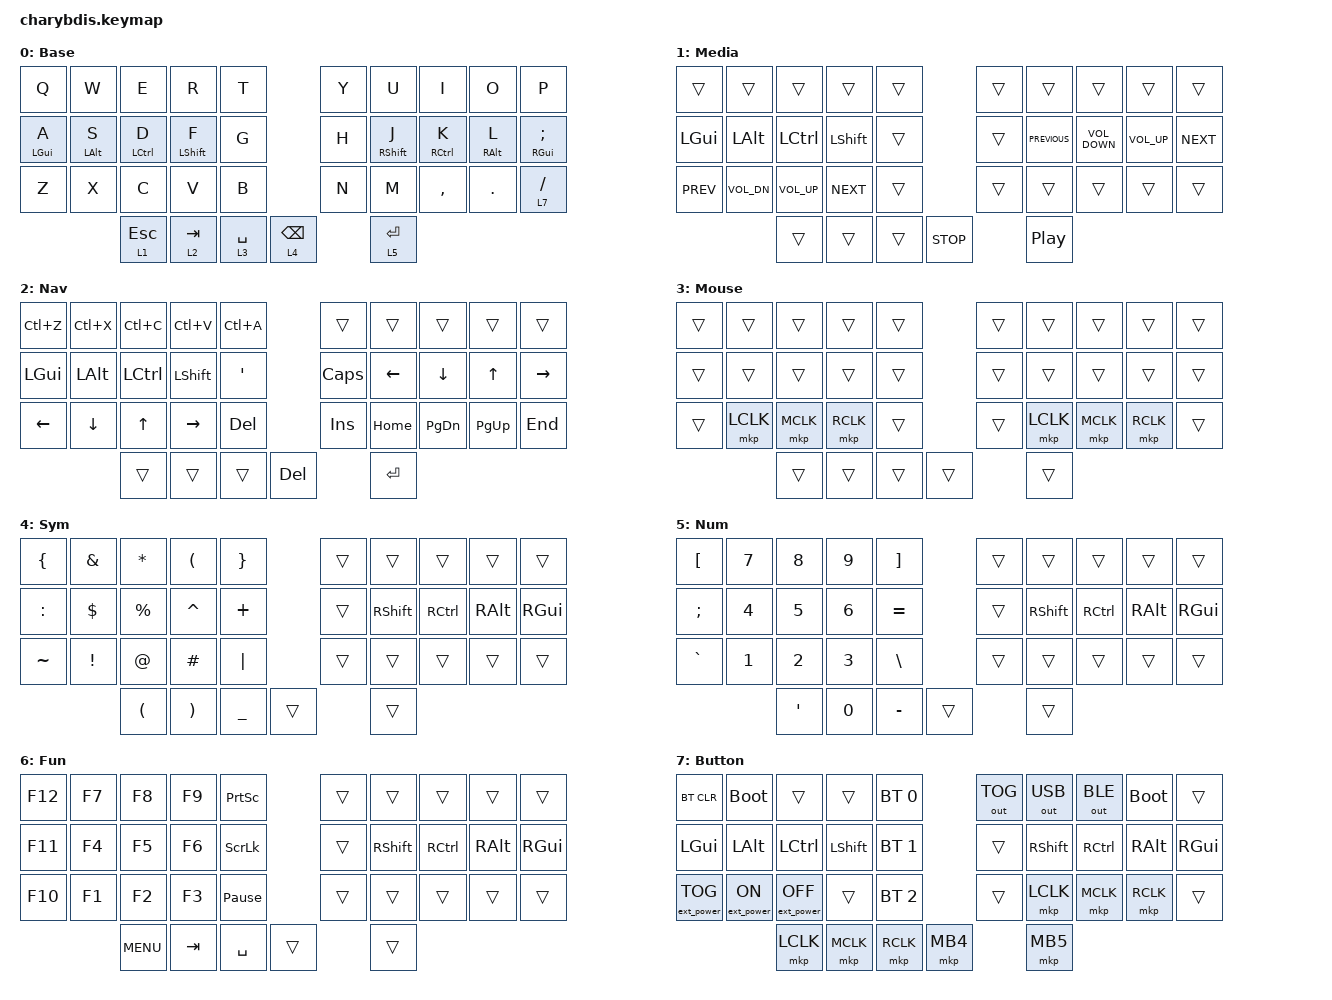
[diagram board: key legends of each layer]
#include <behaviors.dtsi>
#include <dt-bindings/zmk/keys.h>
#include <dt-bindings/zmk/bt.h>
#include <dt-bindings/zmk/ext_power.h>
#include <dt-bindings/zmk/mouse.h>
#include <dt-bindings/zmk/outputs.h>
#include <input/processors.dtsi>
#include <dt-bindings/zmk/input_transform.h>

#define Base 0
#define Media 1
#define Nav 2
#define Mouse 3
#define Sym 4
#define Num 5
#define Fun 6
#define Button 7

/ {
    trackball_listener {
        compatible = "zmk,input-listener";
        device = <&trackball_split>;

        snipe {
            layers = <Mouse>;
            input-processors = <&zip_xy_scaler 1 3>;
        };

        scroll {
            layers = <Nav>;
            input-processors = <&zip_xy_scaler 1 3>, <&zip_xy_to_scroll_mapper>, <&zip_scroll_transform (INPUT_TRANSFORM_Y_INVERT)>;
        };
    };

    behaviors {
        hm: homerow_mods {
            compatible = "zmk,behavior-hold-tap";
            #binding-cells = <2>;
            flavor = "tap-preferred";
            tapping-term-ms = <240>;
            quick-tap-ms = <150>;
            bindings =
                <&kp>,
                <&kp>;
        };

        lt: layer_tap {
            compatible = "zmk,behavior-hold-tap";
            #binding-cells = <2>;
            flavor = "balanced";
            tapping-term-ms = <240>;
            quick-tap-ms = <150>;
            bindings = 
                <&mo>,
                <&kp>;
        };
    };

    chosen {
        // ZMK Studio requires physical layouts instead of the legacy
        // chosen zmk,matrix_transform; select the matching 5-column layout.
        zmk,physical-layout = &charybdis_5col_layout;
    };

    keymap {
        compatible = "zmk,keymap";

        Base {
            bindings = <
            &kp Q       &kp W       &kp E         &kp R         &kp T                       &kp Y        &kp U        &kp I       &kp O               &kp P               
            &hm LGUI A  &hm LALT S  &hm LCTRL D   &hm LSHIFT F  &kp G                       &kp H  &hm RSHFT J  &hm RCTRL K  &hm RALT L  &hm RGUI SEMICOLON  
            &kp Z       &kp X       &kp C         &kp V         &kp B                       &kp N        &kp M    &kp COMMA     &kp DOT         &lt 7 SLASH         
                                    &lt 1 ESCAPE  &lt 2 TAB     &lt 3 SPACE       &lt 4 BACKSPACE  &lt 5 ENTER
            >;
        };

        Media {
            bindings = <
            &trans        &trans          &trans          &trans      &trans              &trans            &trans             &trans           &trans      &trans  
            &kp LGUI      &kp LALT        &kp LCTRL       &kp LSHIFT  &trans              &trans    &kp C_PREVIOUS  &kp C_VOLUME_DOWN  &kp C_VOLUME_UP  &kp C_NEXT  
            &kp C_PREV    &kp C_VOL_DN    &kp C_VOL_UP    &kp C_NEXT  &trans              &trans            &trans             &trans           &trans      &trans  
                                          &trans          &trans      &trans          &kp C_STOP  &kp C_PLAY_PAUSE
            >;
        };

        Nav {
            bindings = <
            &kp LC(Z)     &kp LC(X)   &kp LC(C)   &kp LC(V)   &kp LC(A)                     &trans     &trans         &trans       &trans       &trans  
            &kp LEFT_GUI  &kp LALT    &kp LCTRL   &kp LSHIFT  &kp SQT                     &kp CAPS   &kp LEFT       &kp DOWN       &kp UP    &kp RIGHT  
            &kp LEFT      &kp DOWN    &kp UP      &kp RIGHT   &kp DELETE                &kp INSERT   &kp HOME  &kp PAGE_DOWN  &kp PAGE_UP      &kp END  
                                      &trans      &trans      &trans                    &kp DELETE  &kp ENTER
            >;
        };

        Mouse {
            bindings = <
            &trans    &trans      &trans      &trans      &trans              &trans         &trans     &trans     &trans  &trans  
            &trans    &trans      &trans      &trans      &trans              &trans         &trans     &trans     &trans  &trans  
            &trans    &mkp LCLK   &mkp MCLK   &mkp RCLK   &trans              &trans      &mkp LCLK  &mkp MCLK  &mkp RCLK  &trans  
                                  &trans      &trans      &trans              &trans         &trans
            >;
        };

        Sym {
            bindings = <
            &kp LEFT_BRACE  &kp AMPERSAND  &kp ASTERISK          &kp LEFT_PARENTHESIS   &kp RIGHT_BRACE       &trans      &trans     &trans    &trans    &trans  
            &kp COLON       &kp DOLLAR     &kp PERCENT           &kp CARET              &kp PLUS              &trans  &kp RSHIFT  &kp RCTRL  &kp RALT  &kp RGUI  
            &kp TILDE       &kp EXCL       &kp AT                &kp HASH               &kp PIPE              &trans      &trans     &trans    &trans    &trans  
                                           &kp LEFT_PARENTHESIS  &kp RIGHT_PARENTHESIS  &kp UNDERSCORE        &trans      &trans
            >;
        };

        Num {
            bindings = <
            &kp LEFT_BRACKET  &kp NUMBER_7  &kp NUMBER_8  &kp NUMBER_9  &kp RIGHT_BRACKET       &trans      &trans     &trans    &trans    &trans  
            &kp SEMICOLON     &kp NUMBER_4  &kp NUMBER_5  &kp NUMBER_6  &kp EQUAL               &trans  &kp RSHIFT  &kp RCTRL  &kp RALT  &kp RGUI  
            &kp GRAVE         &kp NUMBER_1  &kp NUMBER_2  &kp NUMBER_3  &kp BACKSLASH           &trans      &trans     &trans    &trans    &trans  
                                            &kp SQT       &kp NUMBER_0  &kp MINUS               &trans      &trans
            >;
        };

        Fun {
            bindings = <
            &kp F12     &kp F7   &kp F8      &kp F9   &kp PRINTSCREEN          &trans      &trans     &trans    &trans    &trans  
            &kp F11     &kp F4   &kp F5      &kp F6   &kp SCROLLLOCK           &trans  &kp RSHIFT  &kp RCTRL  &kp RALT  &kp RGUI  
            &kp F10     &kp F1   &kp F2      &kp F3   &kp PAUSE_BREAK          &trans      &trans     &trans    &trans    &trans  
                                 &kp C_MENU  &kp TAB  &kp SPACE                &trans      &trans
            >;
        };

        Button {
            bindings = <
            &bt BT_CLR            &bootloader         &trans              &trans          &bt BT_SEL 0       &out OUT_TOG  &out OUT_USB   &out OUT_BLE  &bootloader    &trans  
            &kp LGUI              &kp LALT            &kp LCTRL           &kp LSHIFT      &bt BT_SEL 1             &trans    &kp RSHIFT      &kp RCTRL     &kp RALT  &kp RGUI  
            &ext_power EP_TOG     &ext_power EP_ON    &ext_power EP_OFF   &trans          &bt BT_SEL 2             &trans     &mkp LCLK      &mkp MCLK    &mkp RCLK    &trans  
                                                      &mkp LCLK           &mkp MCLK       &mkp RCLK              &mkp MB4      &mkp MB5
            >;
        };
    };
};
